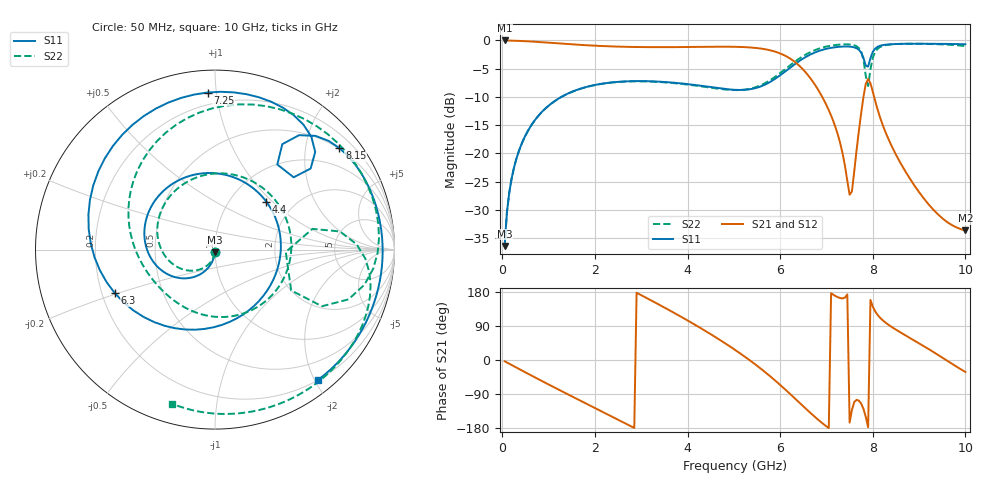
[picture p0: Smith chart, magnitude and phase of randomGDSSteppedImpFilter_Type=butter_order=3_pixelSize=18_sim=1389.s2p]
! freq	dB(S11)	phase(S11)	dB(S12)	phase(S12)
!  dB(S21)	phase(S21)	dB(S22)	phase(S22)
!S-par simulation data
#  GHz  S  DB  R 50
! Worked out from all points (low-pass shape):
!   200 points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, 50 MHz to 10 GHz, reference 50 ohm
!   highest |S21| = -0.01 dB at 50 MHz (marker M1); lowest = -33.7 dB at 10 GHz (marker M2)
!   |S21| within 3 dB of the highest: start of sweep to 6.174 GHz
!   lowest |S11| = -36.4 dB at 50 MHz (marker M3), VSWR 1.03, Z = 49.9 - j1.51 ohm
!   |S11| at or under -10 dB: start of sweep to 1.276 GHz
!   |S22| runs from -36.4 to -0.6 dB; largest |S21 - S12| = 0
!   S11 on the Smith chart (normalised r, x): 50 MHz: 1.00, -0.03; 4.4 GHz: 1.46, +0.92; 6.3 GHz: 0.25, -0.19; 7.25 GHz: 0.13, +0.95; 8.15 GHz: 0.48, +2.73; 10 GHz: 0.20, -2.05
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0.05  -36.42 -92.4  -0.01 -3.3  -0.01 -3.3  -36.44 -93.5
0.2  -24.51 -101.1  -0.04 -13.2  -0.04 -13.2  -24.52 -105.5
0.5  -16.83 -117.6  -0.14 -32.7  -0.14 -32.7  -16.85 -128.7
1.1  -10.92 -149.1  -0.46 -70.9  -0.46 -70.9  -10.94 -174.0
1.75  -8.39 179.1  -0.82 -111.2  -0.82 -111.2  -8.41 137.3
2.6  -7.28 139.6  -1.12 -163.6  -1.12 -163.6  -7.31 72.4
3.4  -7.31 101.0  -1.20 145.1  -1.20 145.1  -7.37 9.2
4.4  -8.15 42.8  -1.13 75.6  -1.13 75.6  -8.26 -70.4
5.05  -8.76 -8.4  -1.14 24.7  -1.14 24.7  -8.80 -121.4
5.6  -8.09 -66.4  -1.46 -24.6  -1.46 -24.6  -7.86 -164.8
5.95  -6.47 -110.3  -2.15 -60.3  -2.15 -60.3  -6.09 164.5
6.3  -4.31 -156.6  -3.70 -99.4  -3.70 -99.4  -3.88 129.1
6.7  -2.31 152.3  -7.23 -144.7  -7.23 -144.7  -1.89 85.8
7.25  -1.15 92.7  -16.80 165.5  -16.80 165.5  -0.76 31.7
7.5  -1.10 69.2  -27.33 -165.3  -27.33 -165.3  -0.71 8.9
7.7  -1.65 49.5  -16.02 -107.3  -16.02 -107.3  -1.35 -13.2
7.85  -4.51 42.6  -7.65 -150.8  -7.65 -150.8  -6.35 -28.2
7.95  -3.14 57.5  -7.59 158.6  -7.59 158.6  -5.11 12.0
8.15  -0.97 39.2  -13.44 112.5  -13.44 112.5  -1.21 -8.5
8.35  -0.70 24.5  -17.68 92.0  -17.68 92.0  -0.75 -23.9
9.15  -0.59 -17.7  -28.48 33.2  -28.48 33.2  -0.61 -65.4
10  -0.67 -51.7  -33.65 -31.6  -33.65 -31.6  -1.00 -105.5
